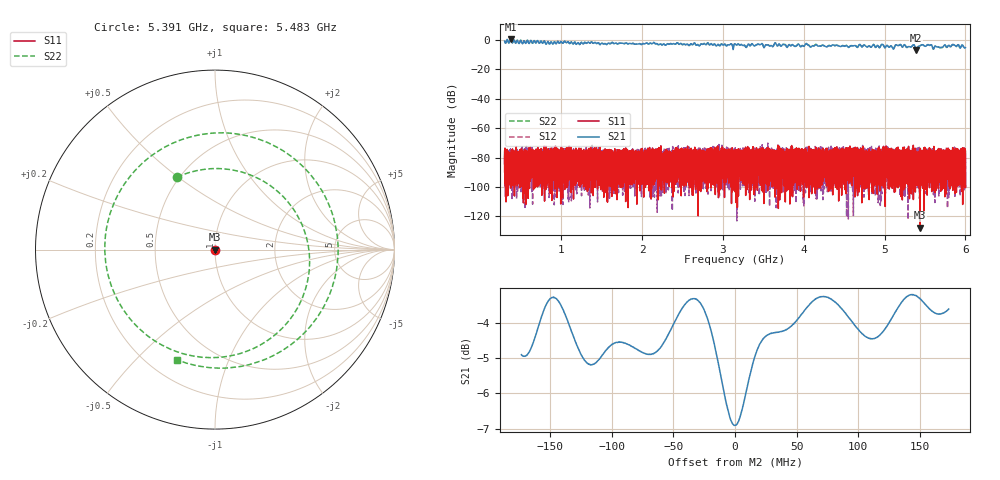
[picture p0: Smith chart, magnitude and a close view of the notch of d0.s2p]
!Agilent Technologies,N5230C,SG49000117,A.08.50.07
!Agilent N5230C: A.08.50.07
!Date: Sunday, March 17, 2024 02:33:12
!Correction: S11(Off)
!S21(Off)
!S12(Off)
!S22(Off)
!S2P File: Measurements: S11, S21, S12, S22:
# Hz S  RI  R 50
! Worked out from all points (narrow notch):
!   20001 points, 300 MHz to 6 GHz, reference 50 ohm
!   highest |S21| = 0.48 dB at 374.1 MHz (marker M1); lowest = -6.9 dB at 5.393 GHz (marker M2)
!   notch at M2: 3.6 dB deep, 28.9 MHz wide at half that depth
!   lowest |S11| = -127.6 dB at 5.437 GHz (marker M3), VSWR 1.00, Z = 50 + j4.01e-05 ohm
!   |S11| at or under -10 dB: start of sweep to end of sweep
!   |S22| runs from -6.9 to 0.5 dB; largest |S21 - S12| = 1.1
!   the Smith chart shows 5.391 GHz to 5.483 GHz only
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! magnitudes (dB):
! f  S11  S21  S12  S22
! 300 MHz  -84.1  -0.8  -76.2  -0.8
! 328.5 MHz  -97.6  0.0  -81.5  0.0
! 374.1 MHz  -86.4  0.5  -81.5  0.5
! 1.25 GHz  -77.1  -1.7  -80.6  -1.7
! 2.2 GHz  -76.5  -3.3  -79.7  -3.3
! 3.15 GHz  -80.2  -2.7  -75.4  -2.7
! 3.275 GHz  -82.7  -4.2  -77.9  -4.1
! 3.462 GHz  -84.1  -3.3  -87.1  -3.3
! 3.599 GHz  -90.9  -3.8  -88.8  -3.7
! 3.665 GHz  -84.2  -3.6  -94.7  -3.5
! 3.98 GHz  -88.6  -3.9  -75.3  -3.8
! 4.039 GHz  -82.5  -2.9  -87.8  -2.8
! 4.1 GHz  -80.4  -4.3  -76.3  -4.2
! 5.05 GHz  -80.6  -4.9  -80.8  -4.8
! 5.35 GHz  -91.1  -3.6  -81.9  -3.6
! 5.393 GHz  -88.0  -6.9  -92.2  -6.9
! 5.437 GHz  -127.6  -4.1  -76.2  -4.2
! 5.555 GHz  -92.9  -3.7  -88.4  -3.7
! 5.616 GHz  -78.3  -5.1  -81.4  -5.2
! 5.694 GHz  -94.2  -5.2  -78.6  -5.2
! 5.852 GHz  -90.5  -3.2  -78.7  -3.3
! 6 GHz  -100.3  -5.3  -87.3  -5.4
